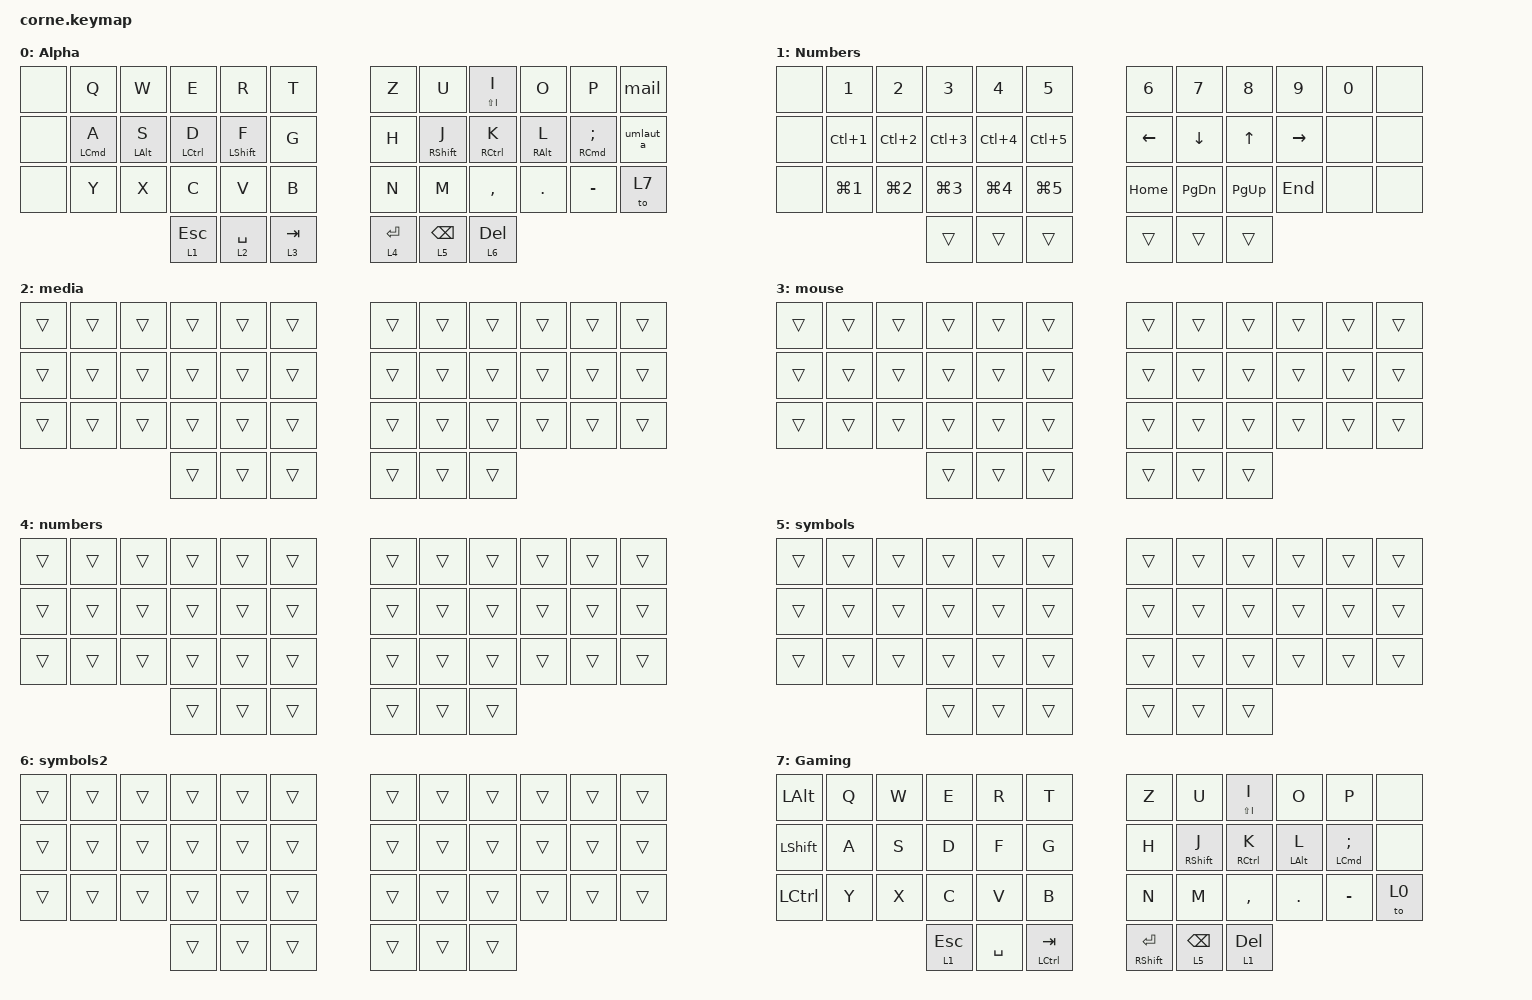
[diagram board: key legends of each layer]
/*
 * Copyright (c) 2020 The ZMK Contributors
 *
 * SPDX-License-Identifier: MIT
 */

#include <behaviors.dtsi>
#include <dt-bindings/zmk/keys.h>

/ {
    combos {
        compatible = "zmk,combos";

        Caps {
            bindings = <&kp CAPS>;
            key-positions = <16 19>;
        };

        Switch_keyboard_layout {
            bindings = <&kp RA(LEFT_ALT)>;
            key-positions = <14 21>;
        };
    };

    behaviors {
        mtd: ModTapDelay {
            compatible = "zmk,behavior-hold-tap";
            label = "Mod/Tap Delayed";
            #binding-cells = <2>;
            bindings = <&kp>, <&kpd>;

            flavor = "balanced";
            tapping-term-ms = <200>;
            require-prior-idle-ms = <200>;
            quick-tap-ms = <200>;
        };

        ltd: LayerTapDelay {
            compatible = "zmk,behavior-hold-tap";
            label = "Layer/Tap Delayed";
            bindings = <&mo>, <&kpd>;

            #binding-cells = <2>;
            tapping-term-ms = <200>;
            flavor = "balanced";
        };
    };

    macros {
        mail: mail {
            compatible = "zmk,behavior-macro";
            #binding-cells = <0>;
            bindings = <&none &kp F &kp A &kp B &kp R &kp I &kp Z &kp I &kp O &kp DOT &kp C &kp O &kp R &kp T &kp E &kp S &kp I &kp N1 &kp N7 &kp N9 &kp AT &kp G &kp M &kp A &kp I &kp L &kp DOT &kp C &kp O &kp M>;
            label = "MAIL";
        };

        kpd: KeyPressDelay {
            compatible = "zmk,behavior-macro-one-param";
            #binding-cells = <1>;
            wait-ms = <0>;       // delay between macro steps
            tap-ms = <30>;      // hold each tap for x ms
            // forward the macro's 1st param into &kp:

            bindings = <&macro_param_1to1 &kp MACRO_PLACEHOLDER>;
        };

        macros {
            umlaut_a: umlaut_a {
                compatible = "zmk,behavior-macro";
                #binding-cells = <0>;
                wait-ms = <40>;
                bindings = <&kp DOUBLE_QUOTES &kp A>;
            };

            umlaut_o: umlaut_o {
                compatible = "zmk,behavior-macro";
                #binding-cells = <0>;
                wait-ms = <40>;
                bindings = <&kp DOUBLE_QUOTES &kp O>;
            };

            umlaut_u: umlaut_u {
                compatible = "zmk,behavior-macro";
                #binding-cells = <0>;
                wait-ms = <40>;
                bindings = <&kp DOUBLE_QUOTES &kp U>;
            };
        };
    };

    keymap {
        compatible = "zmk,keymap";

        Alpha {
            // -----------------------------------------------------------------------------------------
            // |  TAB |  Q  |  W  |  E  |  R  |  T  |   |  Y  |  U   |  I  |  O  |  P  | BKSP |
            // | CTRL |  A  |  S  |  D  |  F  |  G  |   |  H  |  J   |  K  |  L  |  ;  |  '   |
            // | SHFT |  Z  |  X  |  C  |  V  |  B  |   |  N  |  M   |  ,  |  .  |  /  | ESC  |
            //                    | GUI | LWR | SPC |   | ENT | RSE  | ALT |

            display-name = "Alpha";
            bindings = <
&none  &kp Q                &kp W            &kp E          &kp R              &kp T         &kp Z         &kp U               &mtd LS(I) I   &kp O             &kp P                    &mail
&none  &mtd LEFT_COMMAND A  &mtd LEFT_ALT S  &mtd LCTRL D   &mtd LEFT_SHIFT F  &kp G         &kp H         &mtd RIGHT_SHIFT J  &mtd RCTRL K   &mtd RIGHT_ALT L  &mtd RIGHT_COMMAND SEMI  &umlaut_a
&none  &kp Y                &kp X            &kp C          &kp V              &kp B         &kp N         &kp M               &kp COMMA      &kp DOT           &kp MINUS                &to 7
                                             &ltd 1 ESCAPE  &ltd 2 SPACE       &ltd 3 TAB    &ltd 4 ENTER  &ltd 5 BACKSPACE    &ltd 6 DELETE
            >;

            label = "Alpha";
        };

        nav {
            // -----------------------------------------------------------------------------------------
            // |  TAB |  1  |  2  |  3  |  4  |  5  |   |  6  |  7  |  8  |  9  |  0  | BKSP |
            // | BTCLR| BT1 | BT2 | BT3 | BT4 | BT5 |   | LFT | DWN |  UP | RGT |     |      |
            // | SHFT |     |     |     |     |     |   |     |     |     |     |     |      |
            //                    | GUI |     | SPC |   | ENT |     | ALT |

            display-name = "Numbers";
            bindings = <
&none  &kp N1      &kp N2            &kp N3      &kp N4      &kp N5        &kp N6    &kp N7         &kp N8       &kp N9     &kp N0  &none
&none  &kp LC(N1)  &kp LC(N2)        &kp LC(N3)  &kp LC(N4)  &kp LC(N5)    &kp LEFT  &kp DOWN       &kp UP       &kp RIGHT  &none   &none
&none  &kp LG(N1)  &kp LG(NUMBER_2)  &kp LG(N3)  &kp LG(N4)  &kp LG(N5)    &kp HOME  &kp PAGE_DOWN  &kp PAGE_UP  &kp END    &none   &none
                                     &trans      &trans      &trans        &trans    &trans         &trans
            >;

            label = "Numbers";
        };

        media {
            bindings = <
&trans  &trans  &trans  &trans  &trans  &trans    &trans  &trans  &trans  &trans  &trans  &trans
&trans  &trans  &trans  &trans  &trans  &trans    &trans  &trans  &trans  &trans  &trans  &trans
&trans  &trans  &trans  &trans  &trans  &trans    &trans  &trans  &trans  &trans  &trans  &trans
                        &trans  &trans  &trans    &trans  &trans  &trans
            >;
        };

        mouse {
            bindings = <
&trans  &trans  &trans  &trans  &trans  &trans    &trans  &trans  &trans  &trans  &trans  &trans
&trans  &trans  &trans  &trans  &trans  &trans    &trans  &trans  &trans  &trans  &trans  &trans
&trans  &trans  &trans  &trans  &trans  &trans    &trans  &trans  &trans  &trans  &trans  &trans
                        &trans  &trans  &trans    &trans  &trans  &trans
            >;
        };

        numbers {
            bindings = <
&trans  &trans  &trans  &trans  &trans  &trans    &trans  &trans  &trans  &trans  &trans  &trans
&trans  &trans  &trans  &trans  &trans  &trans    &trans  &trans  &trans  &trans  &trans  &trans
&trans  &trans  &trans  &trans  &trans  &trans    &trans  &trans  &trans  &trans  &trans  &trans
                        &trans  &trans  &trans    &trans  &trans  &trans
            >;
        };

        symbols {
            bindings = <
&trans  &trans  &trans  &trans  &trans  &trans    &trans  &trans  &trans  &trans  &trans  &trans
&trans  &trans  &trans  &trans  &trans  &trans    &trans  &trans  &trans  &trans  &trans  &trans
&trans  &trans  &trans  &trans  &trans  &trans    &trans  &trans  &trans  &trans  &trans  &trans
                        &trans  &trans  &trans    &trans  &trans  &trans
            >;
        };

        symbols2 {
            bindings = <
&trans  &trans  &trans  &trans  &trans  &trans    &trans  &trans  &trans  &trans  &trans  &trans
&trans  &trans  &trans  &trans  &trans  &trans    &trans  &trans  &trans  &trans  &trans  &trans
&trans  &trans  &trans  &trans  &trans  &trans    &trans  &trans  &trans  &trans  &trans  &trans
                        &trans  &trans  &trans    &trans  &trans  &trans
            >;
        };

        Gaming {
            display-name = "Gaming";
            bindings = <
&kp LEFT_ALT    &kp Q  &kp W  &kp E       &kp R      &kp T             &kp Z             &kp U               &mtd LS(I) I   &kp O        &kp P                   &none
&kp LEFT_SHIFT  &kp A  &kp S  &kp D       &kp F      &kp G             &kp H             &mtd RIGHT_SHIFT J  &mtd RCTRL K   &mtd LALT L  &mtd LEFT_COMMAND SEMI  &none
&kp LCTRL       &kp Y  &kp X  &kp C       &kp V      &kp B             &kp N             &kp M               &kp COMMA      &kp DOT      &kp MINUS               &to 0
                              &ltd 1 ESC  &kp SPACE  &mtd LCTRL TAB    &mtd RSHFT ENTER  &ltd 5 BACKSPACE    &ltd 1 DELETE
            >;

            label = "Gaming";
        };
    };
};
